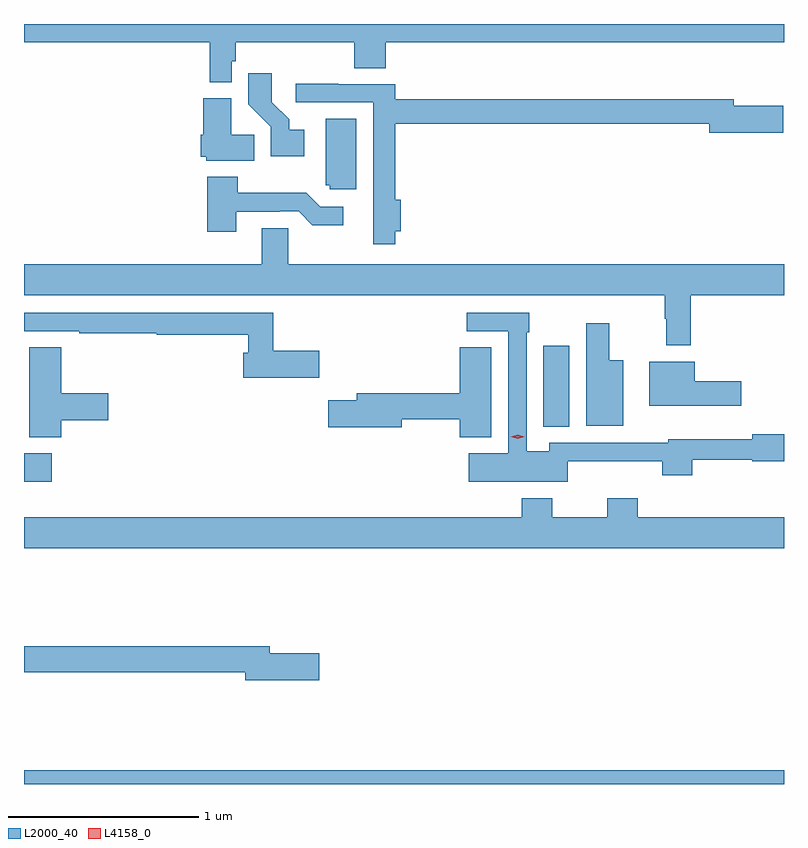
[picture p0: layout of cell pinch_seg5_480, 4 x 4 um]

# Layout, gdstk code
import gdstk
lib = gdstk.Library(unit=1e-6, precision=1e-09)
def R(c, l, rs):  # rectangles x0, y0, x1, y1
    for r in rs: c.add(gdstk.rectangle(r[:2], r[2:], *l))
def P(c, l, *ps):  # polygons
    for p in ps: c.add(gdstk.Polygon(p, *l))
L2000_40 = (2000, 40)
L4158_0 = (4158, 0)

pinch_seg5_480 = lib.new_cell('pinch_seg5_480')
R(pinch_seg5_480, L2000_40, [(888.565,836.872,892.565,836.944), (888.565,838.463,888.712,838.612), (891.299,838.753,891.436,839.179)])
P(pinch_seg5_480, L2000_40, [(888.565,840.776),(889.543,840.776),(889.543,840.566),(889.659,840.566),(889.659,840.675),(889.679,840.675),(889.679,840.776),(890.303,840.776),(890.303,840.64),(890.468,840.64),(890.468,840.776),(892.565,840.776),(892.565,840.872),(888.565,840.872)],
  [(890.041,840.316),(889.96,840.316),(889.96,840.371),(889.87,840.461),(889.87,840.613),(889.744,840.613),(889.744,840.45),(889.863,840.331),(889.863,840.176),(890.041,840.176)],
  [(890.519,839.78),(890.549,839.78),(890.549,839.946),(890.519,839.946),(890.519,840.346),(892.172,840.346),(892.172,840.299),(892.561,840.299),(892.561,840.441),(892.3,840.441),(892.3,840.475),(890.519,840.475),(890.519,840.555),(890.219,840.555),(890.219,840.558),(889.995,840.558),(889.995,840.459),(890.403,840.459),(890.403,839.934),(890.402,839.934),(890.402,839.712),(890.519,839.712)],
  [(889.778,840.29),(889.657,840.29),(889.657,840.481),(889.508,840.481),(889.508,840.288),(889.496,840.288),(889.496,840.174),(889.524,840.174),(889.524,840.152),(889.778,840.152)],
  [(890.314,840.373),(890.153,840.373),(890.153,840.024),(890.175,840.024),(890.175,840.003),(890.314,840.003)],
  [(889.681,839.883),(889.91,839.883),(889.91,839.886),(890.01,839.886),(890.083,839.813),(890.245,839.813),(890.245,839.91),(890.124,839.91),(890.051,839.983),(889.689,839.983),(889.689,840.067),(889.529,840.067),(889.529,839.778),(889.681,839.778)],
  [(892.073,839.444),(892.565,839.444),(892.565,839.608),(889.956,839.608),(889.956,839.798),(889.817,839.798),(889.817,839.608),(888.565,839.608),(888.565,839.444),(891.937,839.444),(891.937,839.321),(891.945,839.321),(891.945,839.181),(892.073,839.181)],
  [(890.119,839.151),(889.877,839.151),(889.877,839.352),(888.565,839.352),(888.565,839.256),(888.856,839.256),(888.856,839.244),(889.264,839.244),(889.264,839.236),(889.745,839.236),(889.745,839.143),(889.718,839.143),(889.718,839.009),(890.119,839.009)],
  [(891.426,838.571),(891.923,838.571),(891.923,838.496),(892.083,838.496),(892.083,838.578),(892.398,838.578),(892.398,838.57),(892.565,838.57),(892.565,838.712),(892.398,838.712),(892.398,838.687),(891.957,838.687),(891.957,838.668),(891.33,838.668),(891.33,838.624),(891.21,838.624),(891.21,839.249),(891.223,839.249),(891.223,839.352),(890.895,839.352),(890.895,839.256),(891.114,839.256),(891.114,838.612),(890.907,838.612),(890.907,838.463),(891.426,838.463)],
  [(891.718,839.101),(891.646,839.101),(891.646,839.296),(891.524,839.296),(891.524,838.757),(891.718,838.757)],
  [(891.025,839.171),(890.858,839.171),(890.858,838.928),(890.315,838.928),(890.315,838.892),(890.166,838.892),(890.166,838.75),(890.554,838.75),(890.554,838.792),(890.858,838.792),(890.858,838.697),(891.025,838.697)],
  [(888.76,838.787),(889.009,838.787),(889.009,838.929),(888.76,838.929),(888.76,839.171),(888.593,839.171),(888.593,838.697),(888.76,838.697)],
  [(892.339,838.992),(892.096,838.992),(892.096,839.095),(891.857,839.095),(891.857,838.862),(892.339,838.862)],
  [(892.565,838.276),(891.794,838.276),(891.794,838.375),(891.634,838.375),(891.634,838.276),(891.345,838.276),(891.345,838.375),(891.185,838.375),(891.185,838.276),(888.565,838.276),(888.565,838.112),(892.565,838.112)],
  [(890.119,837.56),(889.858,837.56),(889.858,837.596),(888.565,837.596),(888.565,837.46),(889.73,837.46),(889.73,837.418),(890.119,837.418)])
P(pinch_seg5_480, L4158_0, [(891.163,838.69),(891.128,838.7),(891.128,838.7),(891.128,838.7),(891.163,838.71),(891.197,838.7),(891.198,838.7),(891.197,838.7)])

lib.write_gds('pinch_seg5_480.gds')
